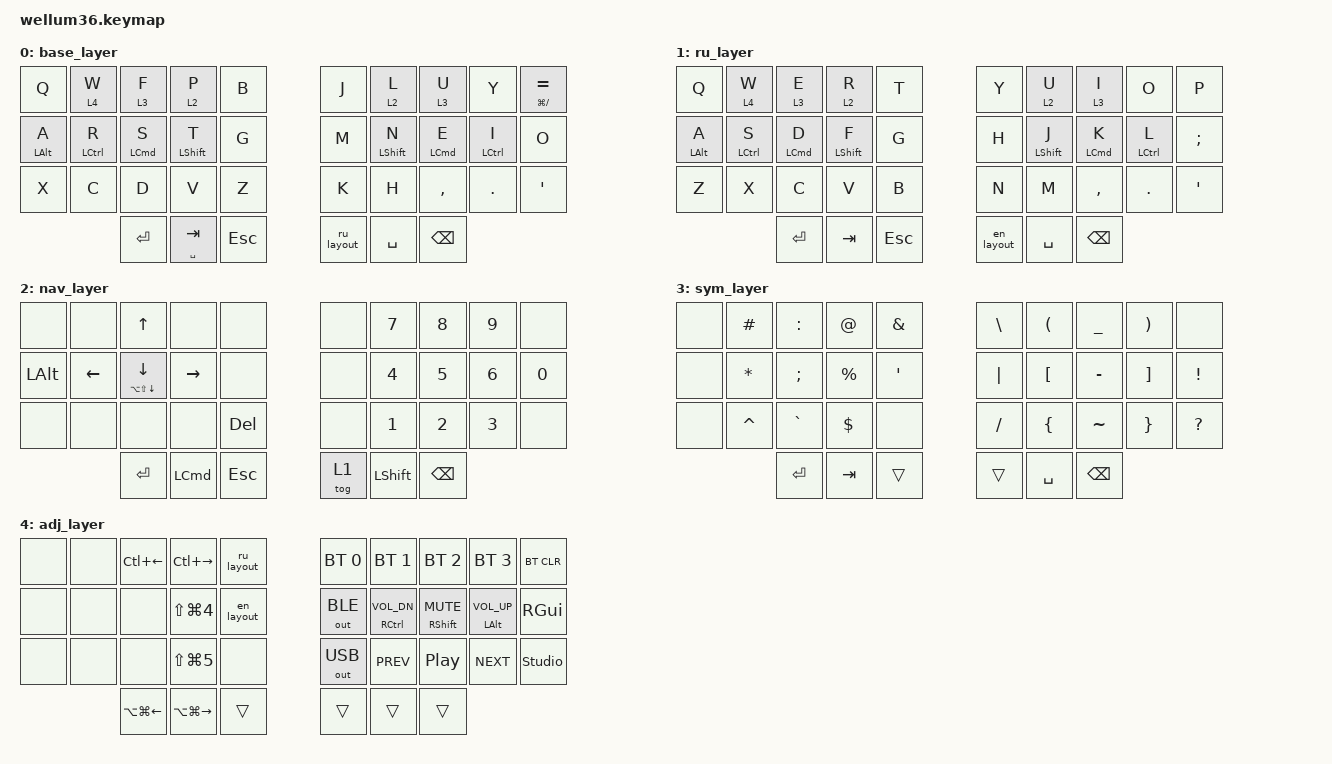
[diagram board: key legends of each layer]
#include <behaviors.dtsi>
#include <dt-bindings/zmk/outputs.h>
#include <dt-bindings/zmk/keys.h>
#include <dt-bindings/zmk/bt.h>

#include <dt-bindings/zmk/ext_power.h>

#define _ &kp
#define ___ &none
#define ______ &trans

#define BASE 0
#define RU 1
#define NAV 2
#define SYM 3
#define ADJ 4

#define MACRO(NAME, COMPATIBLE, BINDING_CELLS, BINDINGS) \
    NAME: NAME { \
        compatible = COMPATIBLE; \
        #binding-cells = <BINDING_CELLS>; \
        wait-ms = <0>; \
        tap-ms = <0>; \
        bindings = \
            <BINDINGS>; \
    };

#define MACRO_NO_PARAM(NAME, BINDINGS)  MACRO(NAME, "zmk,behavior-macro"          , 0, BINDINGS)
#define MACRO_ONE_PARAM(NAME, BINDINGS) MACRO(NAME, "zmk,behavior-macro-one-param", 1, BINDINGS)
#define MACRO_TWO_PARAM(NAME, BINDINGS) MACRO(NAME, "zmk,behavior-macro-two-param", 2, BINDINGS)

#define MAX_TIMER __UINT32_MAX__ // around 50 days

&mt {
    quick-tap-ms = <180>;
    flavor = "tap-preferred";
    require-prior-idle-ms = <125>;
};

/ {
    behaviors {

        hml: home_row_mod_left {
            compatible = "zmk,behavior-hold-tap";
            #binding-cells = <2>;
            flavor = "balanced";
            require-prior-idle-ms = <125>;
            tapping-term-ms = <180>;
            quick-tap-ms = <150>;
            bindings = <&kp>, <&kp>;

            hold-trigger-key-positions = < 0 1 2 3 4 10 11 12 13 14 20 21 22 23 24 30 31 32 >;
            hold-trigger-on-release;
        };

        hmr: home_row_mod_right {
            compatible = "zmk,behavior-hold-tap";
            #binding-cells = <2>;
            flavor = "balanced";
            require-prior-idle-ms = <125>;
            tapping-term-ms = <180>;
            quick-tap-ms = <150>;
            bindings = <&kp>, <&kp>;

            hold-trigger-key-positions = < 5 6 7 8 9 15 16 17 18 19 25 26 27 28 29 33 34 35 >;
            hold-trigger-on-release;
        };
    };

    combos {
        compatible = "zmk,combos";

        copy {
            bindings = <&kp LG(C)>;
            key-positions = <22 21>;
        };

        hrdsgn {
            bindings = <&kp LG(V)>;
            key-positions = <22 23>;
        };

        cmd_z {
            bindings = <&kp LG(Z)>;
            key-positions = <22 24>;
        };

        cut {
            bindings = <&kp LG(X)>;
            key-positions = <22 20>;
        };

        x {
            bindings = <&kp LEFT_BRACKET>;
            key-positions = <34 29>;
        };

        ru_comma {
            bindings = <&kp LS(NUMBER_6)>;
            key-positions = <26 27>;
        };

        ru_dot {
            bindings = <&kp LS(N7)>;
            key-positions = <27 28>;
        };

        ru_hard_mark {
            bindings = <&kp RIGHT_BRACKET>;
            key-positions = <25 26>;
        };
    };

    macros {
        ru_layout: ru_layout {
            compatible = "zmk,behavior-macro";
            #binding-cells = <0>;
            bindings = <&kp LC(SPACE)>, <&macro_wait_time 20>, <&to 1>;

            label = "RU_LAYOUT";
        };

        en_layout: en_layout {
            compatible = "zmk,behavior-macro";
            #binding-cells = <0>;
            bindings = <&kp LC(SPACE)>, <&macro_wait_time 20>, <&to 0>;

            label = "EN_LAYOUT";
        };
    };
};

/ {
    keymap {
        compatible = "zmk,keymap";

        base_layer {
            bindings = <
  &kp Q        &lt 4 W       &lt 3 F      &lt 2 P       &kp B                                 &kp J      &lt 2 L       &lt 3 U      &kp Y         &mt LG(SLASH) EQUAL
  &hml LALT A  &hml LCTRL R  &hml LCMD S  &hml LSHFT T  &kp G                                 &kp M      &hmr LSHFT N  &hmr LCMD E  &hmr LCTRL I  &kp O
  &kp X        &kp C         &kp D        &kp V         &kp Z                                 &kp K      &kp H         &kp COMMA    &kp DOT       &kp APOS
                                          &kp ENTER     &mt SPACE TAB  &kp ESC    &ru_layout  &kp SPACE  &kp BSPC
            >;
        };

        ru_layer {
            bindings = <
  &kp Q        &lt 4 W       &lt 3 E      &lt 2 R       &kp T                           &kp Y      &lt 2 U       &lt 3 I      &kp O         &kp P
  &hml LALT A  &hml LCTRL S  &hml LCMD D  &hml LSHFT F  &kp G                           &kp H      &hmr LSHFT J  &hmr LCMD K  &hmr LCTRL L  &kp SEMICOLON
  &kp Z        &kp X         &kp C        &kp V         &kp B                           &kp N      &kp M         &kp COMMA    &kp DOT       &kp SQT
                                          &kp ENTER     &kp TAB  &kp ESC    &en_layout  &kp SPACE  &kp BSPC
            >;
        };

        nav_layer {
            bindings = <
  &none     &none     &kp UP_ARROW                       &none      &none                          &none      &kp N7        &kp N8        &kp N9        &none
  &kp LALT  &kp LEFT  &mt LA(LS(DOWN_ARROW)) DOWN_ARROW  &kp RIGHT  &none                          &none      &kp NUMBER_4  &kp N5        &kp NUMBER_6  &kp N0
  &none     &none     &none                              &none      &kp DELETE                     &none      &kp NUMBER_1  &kp NUMBER_2  &kp NUMBER_3  &none
                                                         &kp ENTER  &kp LCMD    &kp ESC    &tog 1  &kp LSHFT  &kp BSPC
            >;
        };

        sym_layer {
            bindings = <
  &none  &kp HASH      &kp COLON      &kp AT_SIGN  &kp AMPERSAND                    &kp BACKSLASH  &kp LEFT_PARENTHESIS  &kp UNDER  &kp RIGHT_PARENTHESIS  &none
  &none  &kp ASTERISK  &kp SEMICOLON  &kp PERCENT  &kp SQT                          &kp PIPE       &kp LEFT_BRACKET      &kp MINUS  &kp RIGHT_BRACKET      &kp EXCLAMATION
  &none  &kp CARET     &kp GRAVE      &kp DOLLAR   &none                            &kp SLASH      &kp LEFT_BRACE        &kp TILDE  &kp RIGHT_BRACE        &kp QUESTION
                                      &kp ENTER    &kp TAB        &trans    &trans  &kp SPACE      &kp BSPC
            >;
        };

        adj_layer {
            bindings = <
  &none  &none  &kp LC(LEFT)  &kp LC(RIGHT)         &ru_layout                           &bt BT_SEL 0  &bt BT_SEL 1         &bt BT_SEL 2       &bt BT_SEL 3        &bt BT_CLR
  &none  &none  &none         &kp LS(LG(NUMBER_4))  &en_layout                           &out OUT_BLE  &hmr RCTRL C_VOL_DN  &hmr RSHFT C_MUTE  &hmr LALT C_VOL_UP  &kp RGUI
  &none  &none  &none         &kp LS(LG(N5))        &none                                &out OUT_USB  &kp C_PREV           &kp C_PP           &kp C_NEXT          &studio_unlock
                              &kp LA(LG(LEFT))      &kp LA(LG(RIGHT))  &trans    &trans  &trans        &trans
            >;
        };
    };
};
